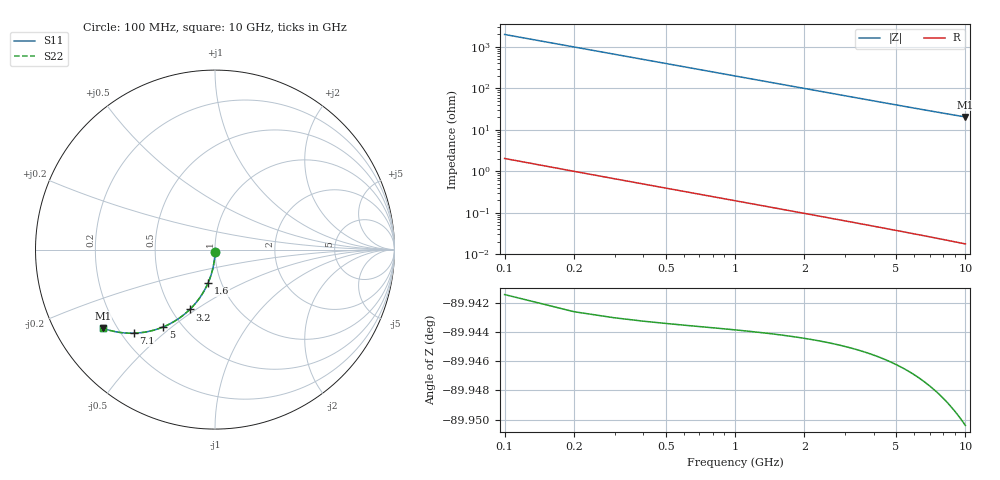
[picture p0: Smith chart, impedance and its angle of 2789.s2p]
# Hz S RI R 50.00
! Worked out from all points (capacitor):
!   100 points, 100 MHz to 10 GHz, reference 50 ohm
!   read as one part in shunt: C = 801 fF near 100 MHz
!   lowest |Z| = 20.4 ohm at 10 GHz (marker M1)
!   S11 on the Smith chart (normalised r, x): 100 MHz: 1.00, -0.02; 1.6 GHz: 0.86, -0.34; 3.2 GHz: 0.61, -0.47; 5 GHz: 0.40, -0.47; 7.1 GHz: 0.25, -0.40; 10 GHz: 0.15, -0.31
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1e8  -8.81e-05 -0.0121  0.9997 -0.013  0.9997 -0.013  -8.81e-05 -0.0121
2e8  -0.000574 -0.0243  0.9993 -0.026  0.9993 -0.026  -0.000574 -0.0243
3e8  -0.00137 -0.0364  0.9985 -0.039  0.9985 -0.039  -0.00137 -0.0364
4e8  -0.00249 -0.0485  0.9973 -0.0519  0.9973 -0.0519  -0.00249 -0.0485
5e8  -0.00392 -0.0605  0.9959 -0.0648  0.9959 -0.0648  -0.00392 -0.0605
6e8  -0.00565 -0.0725  0.9942 -0.0777  0.9942 -0.0777  -0.00565 -0.0725
7e8  -0.00769 -0.0844  0.9921 -0.0904  0.9921 -0.0904  -0.00769 -0.0844
9e8  -0.0127 -0.108  0.9871 -0.1157  0.9871 -0.1157  -0.0127 -0.108
1.2e9  -0.0224 -0.1425  0.9774 -0.1529  0.9774 -0.1529  -0.0224 -0.1425
1.6e9  -0.0391 -0.1868  0.9606 -0.2007  0.9606 -0.2007  -0.0391 -0.1868
1.8e9  -0.049 -0.208  0.9507 -0.2236  0.9507 -0.2236  -0.049 -0.208
2.4e9  -0.0842 -0.267  0.9155 -0.2878  0.9155 -0.2878  -0.0842 -0.267
3.2e9  -0.1408 -0.3337  0.8586 -0.3616  0.8586 -0.3616  -0.1408 -0.3337
3.4e9  -0.1563 -0.3481  0.8431 -0.3777  0.8431 -0.3777  -0.1563 -0.3481
4.2e9  -0.2211 -0.3964  0.7781 -0.4331  0.7781 -0.4331  -0.2211 -0.3964
5e9  -0.2877 -0.4305  0.7111 -0.4744  0.7111 -0.4744  -0.2877 -0.4305
5.1e9  -0.296 -0.4338  0.7028 -0.4787  0.7028 -0.4787  -0.296 -0.4338
5.9e9  -0.3612 -0.454  0.6372 -0.5061  0.6372 -0.5061  -0.3612 -0.454
6.7e9  -0.4229 -0.4639  0.5751 -0.5234  0.5751 -0.5234  -0.4229 -0.4639
7.1e9  -0.4521 -0.4657  0.5457 -0.5289  0.5457 -0.5289  -0.4521 -0.4657
8.4e9  -0.538 -0.4602  0.4589 -0.5356  0.4589 -0.5356  -0.538 -0.4602
1e10  -0.6252 -0.4376  0.3705 -0.5283  0.3705 -0.5283  -0.6252 -0.4376
